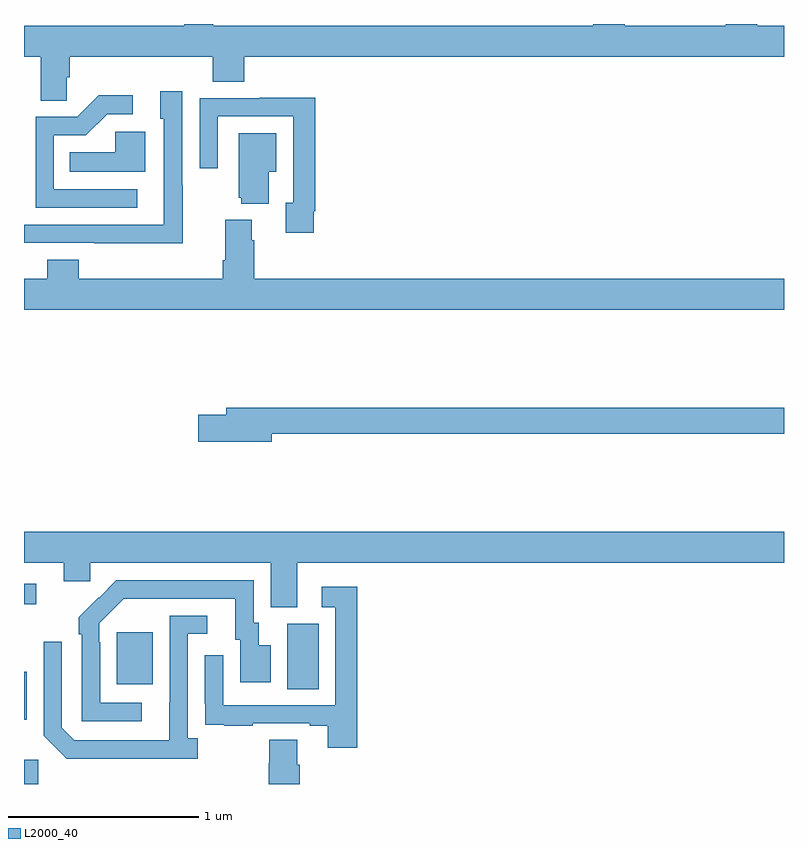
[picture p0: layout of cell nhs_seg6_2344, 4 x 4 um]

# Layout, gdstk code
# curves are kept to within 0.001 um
import gdstk
lib = gdstk.Library(unit=1e-6, precision=1e-09)
def R(c, l, rs):  # rectangles x0, y0, x1, y1
    for r in rs: c.add(gdstk.rectangle(r[:2], r[2:], *l))
def P(c, l, *ps):  # polygons
    for p in ps: c.add(gdstk.Polygon(p, *l))
L2000_40 = (2000, 40)

nhs_seg6_2344 = lib.new_cell('nhs_seg6_2344')
R(nhs_seg6_2344, L2000_40, [(251,951.5,251.076,951.628), (251,951.837,251.014,952.09), (252.386,952,252.55,952.344), (251.489,952.025,251.677,952.3), (251,952.446,251.065,952.554)])
P(nhs_seg6_2344, L2000_40, [(251.226,955.219),(251.24,955.219),(251.24,955.328),(251.993,955.328),(251.993,955.195),(252.158,955.195),(252.158,955.328),(255,955.328),(255,955.492),(254.858,955.492),(254.858,955.5),(254.693,955.5),(254.693,955.492),(254.162,955.492),(254.162,955.5),(253.997,955.5),(253.997,955.492),(251.995,955.492),(251.995,955.5),(251.843,955.5),(251.843,955.492),(251,955.492),(251,955.328),(251.087,955.328),(251.087,955.096),(251.226,955.096)],
  [(251.835,954.653),(251.832,954.653),(251.832,955.147),(251.717,955.147),(251.717,955.002),(251.736,955.002),(251.736,954.692),(251.735,954.692),(251.735,954.444),(251,954.444),(251,954.348),(251.371,954.348),(251.371,954.347),(251.835,954.347)],
  [(251.596,954.63),(251.157,954.63),(251.157,954.915),(251.326,954.915),(251.437,955.026),(251.572,955.026),(251.572,955.124),(251.393,955.124),(251.28,955.011),(251.061,955.011),(251.061,954.534),(251.596,954.534)],
  [(252.526,954.514),(252.533,954.514),(252.533,955.112),(252.241,955.112),(252.241,955.11),(251.925,955.11),(251.925,954.741),(252.021,954.741),(252.021,955.014),(252.417,955.014),(252.417,954.558),(252.377,954.558),(252.377,954.402),(252.526,954.402)],
  [(251.638,954.934),(251.481,954.934),(251.481,954.826),(251.242,954.826),(251.242,954.722),(251.638,954.722)],
  [(252.289,954.722),(252.328,954.722),(252.328,954.925),(252.131,954.925),(252.131,954.585),(252.143,954.585),(252.143,954.554),(252.289,954.554)],
  [(255,954.16),(252.212,954.16),(252.212,954.362),(252.199,954.362),(252.199,954.469),(252.059,954.469),(252.059,954.256),(252.047,954.256),(252.047,954.16),(251.288,954.16),(251.288,954.259),(251.123,954.259),(251.123,954.16),(251,954.16),(251,953.996),(255,953.996)],
  [(252.304,953.344),(255,953.344),(255,953.48),(252.065,953.48),(252.065,953.444),(251.916,953.444),(251.916,953.302),(252.304,953.302)],
  [(252.439,952.664),(255,952.664),(255,952.828),(251,952.828),(251,952.664),(251.21,952.664),(251.21,952.566),(251.349,952.566),(251.349,952.664),(252.299,952.664),(252.299,952.429),(252.439,952.429)],
  [(251.62,951.927),(251.4,951.927),(251.4,952.247),(251.397,952.247),(251.397,952.347),(251.526,952.476),(252.113,952.476),(252.113,952.26),(252.137,952.26),(252.137,952.035),(252.298,952.035),(252.298,952.231),(252.235,952.231),(252.235,952.35),(252.21,952.35),(252.21,952.572),(251.486,952.572),(251.289,952.377),(251.289,952.289),(251.304,952.289),(251.304,951.831),(251.62,951.831)],
  [(252.755,952.537),(252.567,952.537),(252.567,952.431),(252.639,952.431),(252.639,951.915),(252.048,951.915),(252.048,952.177),(251.952,952.177),(251.952,951.922),(251.953,951.922),(251.953,951.813),(252.055,951.813),(252.055,951.807),(252.203,951.807),(252.203,951.819),(252.503,951.819),(252.503,951.807),(252.599,951.807),(252.599,951.69),(252.755,951.69)],
  [(251.914,951.742),(251.862,951.742),(251.862,952.29),(251.965,952.29),(251.965,952.386),(251.766,952.386),(251.765,951.729),(251.265,951.729),(251.199,951.795),(251.199,952.249),(251.103,952.249),(251.103,951.753),(251.224,951.632),(251.914,951.632)],
  [(252.452,951.602),(252.439,951.602),(252.439,951.734),(252.292,951.734),(252.292,951.609),(252.287,951.609),(252.287,951.5),(252.452,951.5)])

lib.write_gds('nhs_seg6_2344.gds')
